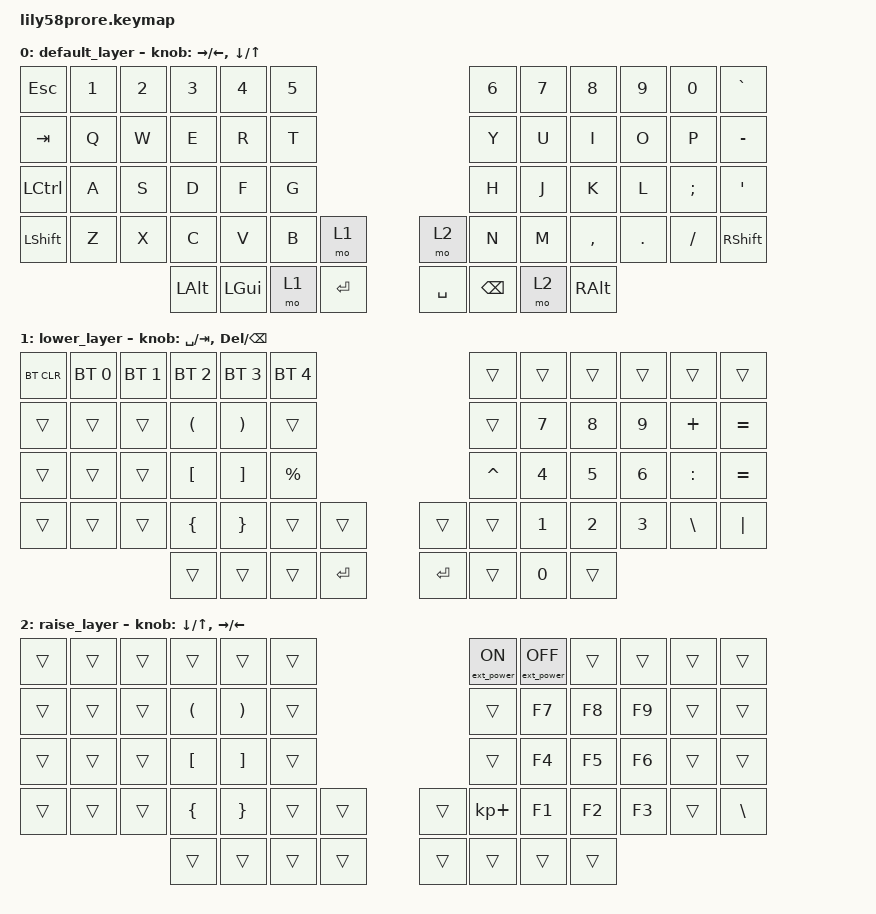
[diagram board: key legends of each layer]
/*
 * Copyright (c) 2020 The ZMK Contributors
 *
 * SPDX-License-Identifier: MIT
 */

#include <behaviors.dtsi>
#include <dt-bindings/zmk/keys.h>
#include <dt-bindings/zmk/bt.h>
#include <dt-bindings/zmk/ext_power.h>

/ {
    keymap {
        compatible = "zmk,keymap";

        default_layer {

            bindings = <
// |---------|---------|---------|---------|---------|---------|                            |----------|---------|---------|---------|---------|---------|
// |   ESC   |    1    |    2    |    3    |    4    |    5    |                            |    6     |    7    |    8    |    9    |    0    |    `    |
     &kp ESC    &kp N1   &kp N2    &kp N3     &kp N4   &kp N5                                  &kp N6    &kp N7     &kp N8   &kp N9    &kp N0   &kp GRAVE
// |---------|---------|---------|---------|---------|---------|                            |----------|---------|---------|---------|---------|---------|
// |   TAB   |    Q    |    W    |    E    |    R    |    T    |                            |    Y     |    U    |    I    |    O    |    P    |    -    |
     &kp TAB   &kp Q      &kp W     &kp E     &kp R     &kp T                                  &kp Y      &kp U      &kp I     &kp O   &kp P    &kp MINUS
// |---------|---------|---------|---------|---------|---------|                            |----------|---------|---------|---------|---------|---------|
// |  CTRL   |    A    |    S    |    D    |    F    |    G    |                            |    H     |    J    |    K    |    L    |    ;    |    '    |
    &kp LCTRL   &kp A     &kp S    &kp D      &kp F     &kp G                                  &kp H      &kp J     &kp K     &kp L    &kp SEMI  &kp SQT
// |---------|---------|---------|---------|---------|---------|---------|        |---------|----------|---------|---------|---------|---------|---------|
// |  SHIFT  |    Z    |    X    |    C    |    V    |    B    |  LOWER  |        |  RAISE  |    N     |    M    |    ,    |    .    |    /    |  SHIFT  |
    &kp LSHIFT   &kp Z     &kp X     &kp C     &kp V     &kp B     &mo 1               &mo 2     &kp N    &kp M     &kp COMMA  &kp DOT  &kp FSLH &kp RSHFT
// |---------|---------|---------|---------|---------|---------|---------|        |---------|----------|---------|---------|---------|---------|---------|
//                               |   ALT   |   GUI   |   LOWER |  RETURN |        |  SPACE  |   BSPC   |  RAISE  |   ALT   |
                                  &kp LALT  &kp LGUI    &mo 1    &kp RET          &kp SPACE   &kp BSPC     &mo 2  &kp RALT
//                               |---------|---------|---------|---------|        |---------|----------|---------|---------|
            >;

            sensor-bindings = <&inc_dec_kp RIGHT LEFT &inc_dec_kp DOWN UP>;
        };


        lower_layer {
            bindings = <
// |---------|---------|---------|---------|---------|---------|                                    |----------|---------|---------|---------|---------|---------|
// |   BTCLR |   BT1   |   BT2   |    BT3  |   BT4   |   BT5   |                                    |          |         |         |         |         |         |
&bt BT_CLR &bt BT_SEL 0 &bt BT_SEL 1 &bt BT_SEL 2 &bt BT_SEL 3 &bt BT_SEL 4                            &trans     &trans   &trans     &trans   &trans    &trans 
// |---------|---------|---------|---------|---------|---------|                                    |----------|---------|---------|---------|---------|---------|
// |         |         |         |     (   |     )   |         |                                    |          |    7    |    8    |    9    |   +     |    =    |
     &trans     &trans   &trans    &kp LPAR  &kp RPAR   &trans                                          &trans     &kp N7    &kp N8   &kp N9  &kp PLUS  &kp EQUAL
// |---------|---------|---------|---------|---------|---------|                                    |----------|---------|---------|---------|---------|---------|
// |         |         |         |    [    |    ]    |    %    |                                    |    ^     |    4    |    5    |    6    |    :    |    =    |
     &trans     &trans   &trans   &kp LBKT &kp RBKT   &kp PRCNT                                     &kp CARET   &kp N4   &kp N5     &kp N6    &kp COLON &kp EQUAL
// |---------|---------|---------|---------|---------|---------|---------|                |---------|----------|---------|---------|---------|---------|---------|
// |         |         |         |    {    |    }    |         |         |                |         |          |    1    |    2    |    3    |    \    |   "|"   |
     &trans    &trans     &trans  &kp LBRC  &kp RBRC    &trans    &trans                    &trans    &trans    &kp N1     &kp N2    &kp N3   &kp BSLH  &kp PIPE
// |---------|---------|---------|---------|---------|---------|---------|                |---------|----------|---------|---------|---------|---------|---------|
//                               |         |         |         |  RETURN |                |  RETURN |    *     |    0    |    #    |
                                    &trans    &trans    &trans  &kp RET                     &kp RET    &trans    &kp N0    &trans
//                               |---------|---------|---------|---------|                |---------|----------|---------|---------|            
            >;

            sensor-bindings = <&inc_dec_kp SPACE TAB &inc_dec_kp DEL BSPC>;
        };

        raise_layer {
            bindings = <
// |---------|---------|---------|---------|---------|---------|                           |----------|---------|---------|---------|---------|---------|
// |         |         |         |         |         |         |                           |    on    |   off   |         |         |         |         |
     &trans    &trans     &trans    &trans    &trans   &trans                       &ext_power EP_ON &ext_power EP_OFF &trans &trans   &trans    &trans 
// |---------|---------|---------|---------|---------|---------|                           |----------|---------|---------|---------|---------|---------|
// |         |         |         |     (   |     )   |         |                           |          |   F7    |    F8   |   F9    |         |         |
     &trans     &trans   &trans    &kp LPAR  &kp RPAR  &trans                                  &trans    &kp F7   &kp F8    &kp F9     &trans    &trans
// |---------|---------|---------|---------|---------|---------|                           |----------|---------|---------|---------|---------|---------|
// |         |         |         |    [    |    ]    |         |                           |          |   F4    |   F5    |   F6    |         |         |
     &trans     &trans   &trans   &kp LBKT &kp RBKT    &trans                                 &trans   &kp F4    &kp F5     &kp F6     &trans    &trans
// |---------|---------|---------|---------|---------|---------|---------|       |---------|----------|---------|---------|---------|---------|---------|
// |         |         |         |    {    |    }    |         |         |       |         |    +     |    F1   |   F2    |   F3    |         |    \    |
     &trans    &trans     &trans  &kp LBRC  &kp RBRC   &trans    &trans            &trans  &kp KP_PLUS  &kp F1     &kp F2    &kp F3   &trans   &kp BSLH
// |---------|---------|---------|---------|---------|---------|---------|       |---------|----------|---------|---------|---------|---------|---------|
//                               |         |         |         |         |       |         |          |         |         |
                                    &trans    &trans    &trans    &trans            &trans    &trans     &trans    &trans
//                               |---------|---------|---------|---------|       |---------|----------|---------|---------|   
            >;

            sensor-bindings = <&inc_dec_kp DOWN UP &inc_dec_kp RIGHT LEFT>;
        };
    };
};
